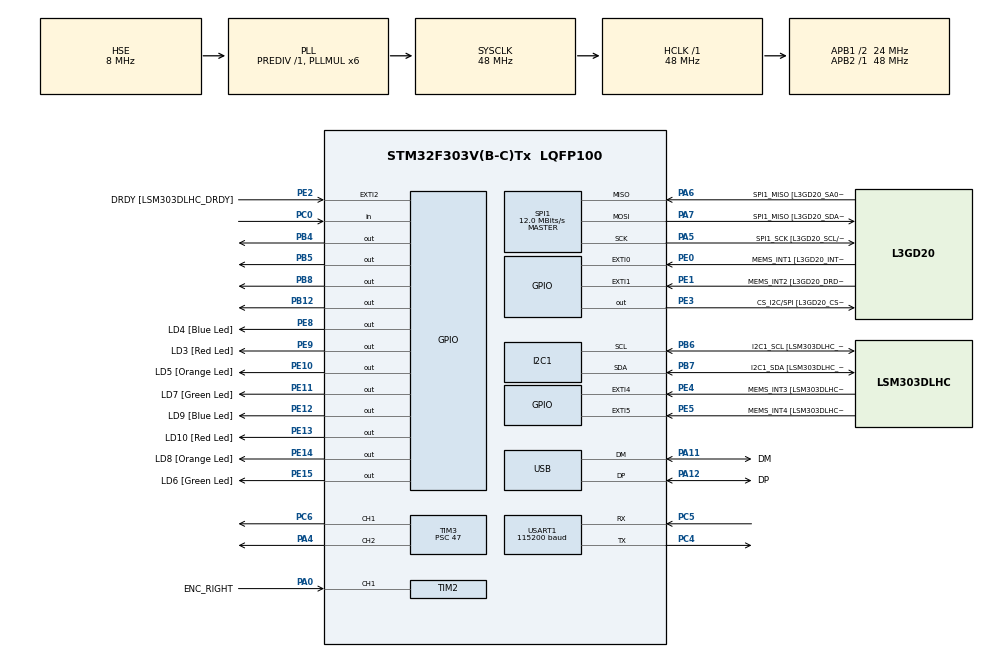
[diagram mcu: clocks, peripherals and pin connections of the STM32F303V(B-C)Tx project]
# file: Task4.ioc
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I2C1.Timing=0x00201D2B
I2C1.Timing-I2C=0x2000090E
Mcu.Family=STM32F3
Mcu.Name=STM32F303V(B-C)Tx
Mcu.Package=LQFP100
NVIC.PriorityGroup=NVIC_PRIORITYGROUP_0
NVIC.TIM2_IRQn=true\:0\:0\:false\:false\:true\:true\:true\:true
NVIC.USART1_IRQn=true\:0\:0\:false\:false\:true\:true\:true\:true
PA0.GPIO_Label=ENC_RIGHT
PA0.Signal=S_TIM2_CH1_ETR
PA11.GPIO_Label=DM
PA11.Mode=Device
PA11.Signal=USB_DM
PA12.GPIO_Label=DP
PA12.Mode=Device
PA12.Signal=USB_DP
PA13.GPIO_Label=SWDIO
PA13.Mode=Serial_Wire
PA13.Signal=SYS_JTMS-SWDIO
PA14.GPIO_Label=SWCLK
PA14.Mode=Serial_Wire
PA14.Signal=SYS_JTCK-SWCLK
PA4.Signal=S_TIM3_CH2
PA5.GPIO_Label=SPI1_SCK [L3GD20_SCL/SPC]
PA5.Mode=Full_Duplex_Master
PA5.Signal=SPI1_SCK
PA6.GPIO_Label=SPI1_MISO [L3GD20_SA0/SDO]
PA6.Mode=Full_Duplex_Master
PA6.Signal=SPI1_MISO
PA7.GPIO_Label=SPI1_MISO [L3GD20_SDA/SDI/SDO]
PA7.Mode=Full_Duplex_Master
PA7.Signal=SPI1_MOSI
PB12.Signal=GPIO_Output
PB3.GPIO_Label=SWO
PB3.Signal=SYS_JTDO-TRACESWO
PB4.Signal=GPIO_Output
PB5.Signal=GPIO_Output
PB6.GPIO_Label=I2C1_SCL [LSM303DLHC_SCL]
PB6.GPIO_Pu=GPIO_PULLUP
PB6.Mode=I2C
PB6.Signal=I2C1_SCL
PB7.GPIO_Label=I2C1_SDA [LSM303DLHC_SDA]
PB7.GPIO_Pu=GPIO_PULLUP
PB7.Mode=I2C
PB7.Signal=I2C1_SDA
PB8.Signal=GPIO_Output
PC0.GPIO_PuPd=GPIO_PULLUP
PC0.Signal=GPIO_Input
PC14-OSC32_IN.GPIO_Label=OSC32_IN
PC14-OSC32_IN.Signal=RCC_OSC32_IN
PC15-OSC32_OUT.GPIO_Label=OSC32_OUT
PC15-OSC32_OUT.Signal=RCC_OSC32_OUT
PC4.Mode=Asynchronous
PC4.Signal=USART1_TX
PC5.Mode=Asynchronous
PC5.Signal=USART1_RX
PC6.Signal=S_TIM3_CH1
PE0.GPIO_Label=MEMS_INT1 [L3GD20_INT1]
PE0.GPIO_ModeDefaultEXTI=GPIO_MODE_EVT_RISING
PE0.Signal=GPXTI0
PE1.GPIO_Label=MEMS_INT2 [L3GD20_DRDY/INT2]
PE1.GPIO_ModeDefaultEXTI=GPIO_MODE_EVT_RISING
PE1.Signal=GPXTI1
PE10.GPIO_Label=LD5 [Orange Led]
PE10.Signal=GPIO_Output
PE11.GPIO_Label=LD7 [Green Led]
PE11.Signal=GPIO_Output
PE12.GPIO_Label=LD9 [Blue Led]
PE12.Signal=GPIO_Output
PE13.GPIO_Label=LD10 [Red Led]
PE13.Signal=GPIO_Output
PE14.GPIO_Label=LD8 [Orange Led]
PE14.Signal=GPIO_Output
PE15.GPIO_Label=LD6 [Green Led]
PE15.Signal=GPIO_Output
PE2.GPIO_Label=DRDY [LSM303DLHC_DRDY]
PE2.GPIO_ModeDefaultEXTI=GPIO_MODE_EVT_RISING
PE2.Signal=GPXTI2
PE3.GPIO_Label=CS_I2C/SPI [L3GD20_CS_I2C/SPI]
PE3.Signal=GPIO_Output
PE4.GPIO_Label=MEMS_INT3 [LSM303DLHC_INT1]
PE4.GPIO_ModeDefaultEXTI=GPIO_MODE_EVT_RISING
PE4.Signal=GPXTI4
PE5.GPIO_Label=MEMS_INT4 [LSM303DLHC_INT2]
PE5.GPIO_ModeDefaultEXTI=GPIO_MODE_EVT_RISING
PE5.Signal=GPXTI5
PE8.GPIO_Label=LD4 [Blue Led]
PE8.Signal=GPIO_Output
PE9.GPIO_Label=LD3 [Red Led]
PE9.Signal=GPIO_Output
PF0-OSC_IN.GPIO_Label=OSC_IN
PF0-OSC_IN.Mode=HSE-External-Clock-Source
PF0-OSC_IN.Signal=RCC_OSC_IN
PF1-OSC_OUT.GPIO_Label=OSC_OUT
PF1-OSC_OUT.Signal=RCC_OSC_OUT
ProjectManager.HeapSize=0x200
ProjectManager.StackSize=0x400
ProjectManager.TargetToolchain=CMake
RCC.AHBFreq_Value=48000000
RCC.APB1CLKDivider=RCC_HCLK_DIV2
RCC.APB1Freq_Value=24000000
RCC.APB1TimFreq_Value=48000000
RCC.APB2Freq_Value=48000000
RCC.APB2TimFreq_Value=48000000
RCC.CortexFreq_Value=48000000
RCC.HCLKFreq_Value=48000000
RCC.HSE_VALUE=8000000
RCC.HSI_VALUE=8000000
RCC.LSE_VALUE=32768
RCC.PLLMUL=RCC_PLL_MUL6
RCC.SYSCLKFreq_VALUE=48000000
RCC.SYSCLKSourceVirtual=RCC_SYSCLKSOURCE_PLLCLK
RCC.USBFreq_Value=48000000
SH.S_TIM2_CH1_ETR.0=TIM2_CH1,Input_Capture1_from_TI1
SH.S_TIM3_CH1.0=TIM3_CH1,PWM Generation1 CH1
SH.S_TIM3_CH2.0=TIM3_CH2,PWM Generation2 CH2
SPI1.BaudRatePrescaler=SPI_BAUDRATEPRESCALER_4
SPI1.BaudRatePrescaler-Full_Duplex_Master=SPI_BAUDRATEPRESCALER_2
SPI1.CalculateBaudRate=12.0 MBits/s
SPI1.CalculateBaudRate-Full_Duplex_Master=24.0 MBits/s
SPI1.Direction=SPI_DIRECTION_2LINES
SPI1.Mode=SPI_MODE_MASTER
SPI1.Mode-Full_Duplex_Master=SPI_MODE_MASTER
SPI1.VirtualType=VM_MASTER
TIM2.Channel-Input_Capture1_from_TI1=TIM_CHANNEL_1
TIM2.Prescaler=47
TIM3.Channel-PWM\ Generation1\ CH1=TIM_CHANNEL_1
TIM3.Channel-PWM\ Generation2\ CH2=TIM_CHANNEL_2
TIM3.Period=999
TIM3.Prescaler=47
USART1.BaudRate=115200
USART1.VirtualMode-Asynchronous=VM_ASYNC
VP_TIM2_VS_ClockSourceINT.Mode=Internal
VP_TIM3_VS_ClockSourceINT.Mode=Internal
board=STM32F3DISCOVERY

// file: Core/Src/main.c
/* USER CODE BEGIN Header */
/**
  ******************************************************************************
  * @file           : main.c
  * @brief          : Main program body
  ******************************************************************************
  * @attention
  *
  * Copyright (c) 2026 STMicroelectronics.
  * All rights reserved.
  *
  * This software is licensed under terms that can be found in the LICENSE file
  * in the root directory of this software component.
  * If no LICENSE file comes with this software, it is provided AS-IS.
  *
  ******************************************************************************
  */
/* USER CODE END Header */
#include "main.h"

/* USER CODE BEGIN Includes */
#include "stm32f303xc.h"
#include "stm32f3xx_hal.h"
#include <stdio.h>
#include <string.h>
/* USER CODE END Includes */

/* USER CODE BEGIN PD */
#define PPR 330.0f
/* USER CODE END PD */

I2C_HandleTypeDef hi2c1;

SPI_HandleTypeDef hspi1;

TIM_HandleTypeDef htim2;
TIM_HandleTypeDef htim3;

UART_HandleTypeDef huart1;

PCD_HandleTypeDef hpcd_USB_FS;

/* USER CODE BEGIN PV */
volatile uint32_t x1 = 0;
volatile uint32_t x2 = 0;
volatile uint32_t diff = 0;
volatile uint8_t firstEdge = 0;

volatile float freqInHz = 0.0f;
volatile float motorRPM = 0.0f;

char uartBuffer[64];
/* USER CODE END PV */

void SystemClock_Config(void);
static void MX_GPIO_Init(void);
static void MX_I2C1_Init(void);
static void MX_SPI1_Init(void);
static void MX_TIM2_Init(void);
static void MX_USART1_UART_Init(void);
static void MX_USB_PCD_Init(void);
static void MX_TIM3_Init(void);

int main(void)
{

  /* MCU Configuration--------------------------------------------------------*/

  /* Reset of all peripherals, Initializes the Flash interface and the Systick. */
  HAL_Init();

  /* Configure the system clock */
  SystemClock_Config();

  /* Initialize all configured peripherals */
  MX_GPIO_Init();
  MX_I2C1_Init();
  MX_SPI1_Init();
  MX_TIM2_Init();
  MX_USART1_UART_Init();
  MX_USB_PCD_Init();
  MX_TIM3_Init();
  /* USER CODE BEGIN 2 */

  /* ── Lab 5: Motor PWM at 50% duty cycle ── */
  HAL_TIM_PWM_Start(&htim3, TIM_CHANNEL_1);
  HAL_TIM_PWM_Start(&htim3, TIM_CHANNEL_2);
  __HAL_TIM_SET_COMPARE(&htim3, TIM_CHANNEL_1, 500);
  __HAL_TIM_SET_COMPARE(&htim3, TIM_CHANNEL_2, 500);

  /* ── Lab 5: Motor direction (Using your Task 3 pins) ── */
  HAL_GPIO_WritePin(GPIOB, GPIO_PIN_12, GPIO_PIN_SET);
  HAL_GPIO_WritePin(GPIOB, GPIO_PIN_8,  GPIO_PIN_RESET);
  HAL_GPIO_WritePin(GPIOB, GPIO_PIN_5,  GPIO_PIN_SET);
  HAL_GPIO_WritePin(GPIOB, GPIO_PIN_4,  GPIO_PIN_RESET);

  /* Start TIM2 in Input Capture Interrupt Mode */
  HAL_TIM_IC_Start_IT(&htim2, TIM_CHANNEL_1);

  /* USER CODE END 2 */

  /* Infinite loop */
  while (1)
  {

    /* USER CODE BEGIN 3 */
    snprintf(
      uartBuffer,
      sizeof(uartBuffer),
      "Freq: %.2f Hz | RPM: %.2f\r\n",
      freqInHz, motorRPM
    );

    HAL_UART_Transmit(&huart1, (uint8_t *)uartBuffer, strlen(uartBuffer), HAL_MAX_DELAY);

    HAL_Delay(100);
  }
  /* USER CODE END 3 */
}

void SystemClock_Config(void)
{
  RCC_OscInitTypeDef RCC_OscInitStruct = {0};
  RCC_ClkInitTypeDef RCC_ClkInitStruct = {0};
  RCC_PeriphCLKInitTypeDef PeriphClkInit = {0};

  /** Initializes the RCC Oscillators according to the specified parameters
  * in the RCC_OscInitTypeDef structure.
  */
  RCC_OscInitStruct.OscillatorType = RCC_OSCILLATORTYPE_HSI|RCC_OSCILLATORTYPE_HSE;
  RCC_OscInitStruct.HSEState = RCC_HSE_BYPASS;
  RCC_OscInitStruct.HSEPredivValue = RCC_HSE_PREDIV_DIV1;
  RCC_OscInitStruct.HSIState = RCC_HSI_ON;
  RCC_OscInitStruct.HSICalibrationValue = RCC_HSICALIBRATION_DEFAULT;
  RCC_OscInitStruct.PLL.PLLState = RCC_PLL_ON;
  RCC_OscInitStruct.PLL.PLLSource = RCC_PLLSOURCE_HSE;
  RCC_OscInitStruct.PLL.PLLMUL = RCC_PLL_MUL6;
  if (HAL_RCC_OscConfig(&RCC_OscInitStruct) != HAL_OK)
  {
    Error_Handler();
  }

  /** Initializes the CPU, AHB and APB buses clocks
  */
  RCC_ClkInitStruct.ClockType = RCC_CLOCKTYPE_HCLK|RCC_CLOCKTYPE_SYSCLK
                              |RCC_CLOCKTYPE_PCLK1|RCC_CLOCKTYPE_PCLK2;
  RCC_ClkInitStruct.SYSCLKSource = RCC_SYSCLKSOURCE_PLLCLK;
  RCC_ClkInitStruct.AHBCLKDivider = RCC_SYSCLK_DIV1;
  RCC_ClkInitStruct.APB1CLKDivider = RCC_HCLK_DIV2;
  RCC_ClkInitStruct.APB2CLKDivider = RCC_HCLK_DIV1;

  if (HAL_RCC_ClockConfig(&RCC_ClkInitStruct, FLASH_LATENCY_1) != HAL_OK)
  {
    Error_Handler();
  }
  PeriphClkInit.PeriphClockSelection = RCC_PERIPHCLK_USB|RCC_PERIPHCLK_USART1
                              |RCC_PERIPHCLK_I2C1;
  PeriphClkInit.Usart1ClockSelection = RCC_USART1CLKSOURCE_PCLK2;
  PeriphClkInit.I2c1ClockSelection = RCC_I2C1CLKSOURCE_HSI;
  PeriphClkInit.USBClockSelection = RCC_USBCLKSOURCE_PLL;
  if (HAL_RCCEx_PeriphCLKConfig(&PeriphClkInit) != HAL_OK)
  {
    Error_Handler();
  }
}

static void MX_I2C1_Init(void)
{

  hi2c1.Instance = I2C1;
  hi2c1.Init.Timing = 0x00201D2B;
  hi2c1.Init.OwnAddress1 = 0;
  hi2c1.Init.AddressingMode = I2C_ADDRESSINGMODE_7BIT;
  hi2c1.Init.DualAddressMode = I2C_DUALADDRESS_DISABLE;
  hi2c1.Init.OwnAddress2 = 0;
  hi2c1.Init.OwnAddress2Masks = I2C_OA2_NOMASK;
  hi2c1.Init.GeneralCallMode = I2C_GENERALCALL_DISABLE;
  hi2c1.Init.NoStretchMode = I2C_NOSTRETCH_DISABLE;
  if (HAL_I2C_Init(&hi2c1) != HAL_OK)
  {
    Error_Handler();
  }

  /** Configure Analogue filter
  */
  if (HAL_I2CEx_ConfigAnalogFilter(&hi2c1, I2C_ANALOGFILTER_ENABLE) != HAL_OK)
  {
    Error_Handler();
  }

  /** Configure Digital filter
  */
  if (HAL_I2CEx_ConfigDigitalFilter(&hi2c1, 0) != HAL_OK)
  {
    Error_Handler();
  }

}

static void MX_SPI1_Init(void)
{

  /* SPI1 parameter configuration*/
  hspi1.Instance = SPI1;
  hspi1.Init.Mode = SPI_MODE_MASTER;
  hspi1.Init.Direction = SPI_DIRECTION_2LINES;
  hspi1.Init.DataSize = SPI_DATASIZE_4BIT;
  hspi1.Init.CLKPolarity = SPI_POLARITY_LOW;
  hspi1.Init.CLKPhase = SPI_PHASE_1EDGE;
  hspi1.Init.NSS = SPI_NSS_SOFT;
  hspi1.Init.BaudRatePrescaler = SPI_BAUDRATEPRESCALER_4;
  hspi1.Init.FirstBit = SPI_FIRSTBIT_MSB;
  hspi1.Init.TIMode = SPI_TIMODE_DISABLE;
  hspi1.Init.CRCCalculation = SPI_CRCCALCULATION_DISABLE;
  hspi1.Init.CRCPolynomial = 7;
  hspi1.Init.CRCLength = SPI_CRC_LENGTH_DATASIZE;
  hspi1.Init.NSSPMode = SPI_NSS_PULSE_ENABLE;
  if (HAL_SPI_Init(&hspi1) != HAL_OK)
  {
    Error_Handler();
  }

}

static void MX_TIM2_Init(void)
{

  TIM_ClockConfigTypeDef sClockSourceConfig = {0};
  TIM_MasterConfigTypeDef sMasterConfig = {0};
  TIM_IC_InitTypeDef sConfigIC = {0};

  htim2.Instance = TIM2;
  htim2.Init.Prescaler = 47;
  htim2.Init.CounterMode = TIM_COUNTERMODE_UP;
  htim2.Init.Period = 4294967295;
  htim2.Init.ClockDivision = TIM_CLOCKDIVISION_DIV1;
  htim2.Init.AutoReloadPreload = TIM_AUTORELOAD_PRELOAD_DISABLE;
  if (HAL_TIM_Base_Init(&htim2) != HAL_OK)
  {
    Error_Handler();
  }
  sClockSourceConfig.ClockSource = TIM_CLOCKSOURCE_INTERNAL;
  if (HAL_TIM_ConfigClockSource(&htim2, &sClockSourceConfig) != HAL_OK)
  {
    Error_Handler();
  }
  if (HAL_TIM_IC_Init(&htim2) != HAL_OK)
  {
    Error_Handler();
  }
  sMasterConfig.MasterOutputTrigger = TIM_TRGO_RESET;
  sMasterConfig.MasterSlaveMode = TIM_MASTERSLAVEMODE_DISABLE;
  if (HAL_TIMEx_MasterConfigSynchronization(&htim2, &sMasterConfig) != HAL_OK)
  {
    Error_Handler();
  }
  sConfigIC.ICPolarity = TIM_INPUTCHANNELPOLARITY_RISING;
  sConfigIC.ICSelection = TIM_ICSELECTION_DIRECTTI;
  sConfigIC.ICPrescaler = TIM_ICPSC_DIV1;
  sConfigIC.ICFilter = 0;
  if (HAL_TIM_IC_ConfigChannel(&htim2, &sConfigIC, TIM_CHANNEL_1) != HAL_OK)
  {
    Error_Handler();
  }

}

static void MX_TIM3_Init(void)
{

  TIM_ClockConfigTypeDef sClockSourceConfig = {0};
  TIM_MasterConfigTypeDef sMasterConfig = {0};
  TIM_OC_InitTypeDef sConfigOC = {0};

  htim3.Instance = TIM3;
  htim3.Init.Prescaler = 47;
  htim3.Init.CounterMode = TIM_COUNTERMODE_UP;
  htim3.Init.Period = 999;
  htim3.Init.ClockDivision = TIM_CLOCKDIVISION_DIV1;
  htim3.Init.AutoReloadPreload = TIM_AUTORELOAD_PRELOAD_DISABLE;
  if (HAL_TIM_Base_Init(&htim3) != HAL_OK)
  {
    Error_Handler();
  }
  sClockSourceConfig.ClockSource = TIM_CLOCKSOURCE_INTERNAL;
  if (HAL_TIM_ConfigClockSource(&htim3, &sClockSourceConfig) != HAL_OK)
  {
    Error_Handler();
  }
  if (HAL_TIM_PWM_Init(&htim3) != HAL_OK)
  {
    Error_Handler();
  }
  sMasterConfig.MasterOutputTrigger = TIM_TRGO_RESET;
  sMasterConfig.MasterSlaveMode = TIM_MASTERSLAVEMODE_DISABLE;
  if (HAL_TIMEx_MasterConfigSynchronization(&htim3, &sMasterConfig) != HAL_OK)
  {
    Error_Handler();
  }
  sConfigOC.OCMode = TIM_OCMODE_PWM1;
  sConfigOC.Pulse = 0;
  sConfigOC.OCPolarity = TIM_OCPOLARITY_HIGH;
  sConfigOC.OCFastMode = TIM_OCFAST_DISABLE;
  if (HAL_TIM_PWM_ConfigChannel(&htim3, &sConfigOC, TIM_CHANNEL_1) != HAL_OK)
  {
    Error_Handler();
  }
  if (HAL_TIM_PWM_ConfigChannel(&htim3, &sConfigOC, TIM_CHANNEL_2) != HAL_OK)
  {
    Error_Handler();
  }
  HAL_TIM_MspPostInit(&htim3);

}

static void MX_USART1_UART_Init(void)
{

  huart1.Instance = USART1;
  huart1.Init.BaudRate = 115200;
  huart1.Init.WordLength = UART_WORDLENGTH_8B;
  huart1.Init.StopBits = UART_STOPBITS_1;
  huart1.Init.Parity = UART_PARITY_NONE;
  huart1.Init.Mode = UART_MODE_TX_RX;
  huart1.Init.HwFlowCtl = UART_HWCONTROL_NONE;
  huart1.Init.OverSampling = UART_OVERSAMPLING_16;
  huart1.Init.OneBitSampling = UART_ONE_BIT_SAMPLE_DISABLE;
  huart1.AdvancedInit.AdvFeatureInit = UART_ADVFEATURE_NO_INIT;
  if (HAL_UART_Init(&huart1) != HAL_OK)
  {
    Error_Handler();
  }

}

static void MX_USB_PCD_Init(void)
{

  hpcd_USB_FS.Instance = USB;
  hpcd_USB_FS.Init.dev_endpoints = 8;
  hpcd_USB_FS.Init.speed = PCD_SPEED_FULL;
  hpcd_USB_FS.Init.phy_itface = PCD_PHY_EMBEDDED;
  hpcd_USB_FS.Init.low_power_enable = DISABLE;
  hpcd_USB_FS.Init.battery_charging_enable = DISABLE;
  if (HAL_PCD_Init(&hpcd_USB_FS) != HAL_OK)
  {
    Error_Handler();
  }

}

static void MX_GPIO_Init(void)
{
  GPIO_InitTypeDef GPIO_InitStruct = {0};

  /* GPIO Ports Clock Enable */
  __HAL_RCC_GPIOE_CLK_ENABLE();
  __HAL_RCC_GPIOC_CLK_ENABLE();
  __HAL_RCC_GPIOF_CLK_ENABLE();
  __HAL_RCC_GPIOA_CLK_ENABLE();
  __HAL_RCC_GPIOB_CLK_ENABLE();

  /*Configure GPIO pin Output Level */
  HAL_GPIO_WritePin(GPIOE, CS_I2C_SPI_Pin|LD4_Pin|LD3_Pin|LD5_Pin
                          |LD7_Pin|LD9_Pin|LD10_Pin|LD8_Pin
                          |LD6_Pin, GPIO_PIN_RESET);

  /*Configure GPIO pin Output Level */
  HAL_GPIO_WritePin(GPIOB, GPIO_PIN_12|GPIO_PIN_4|GPIO_PIN_5|GPIO_PIN_8, GPIO_PIN_RESET);

  /*Configure GPIO pins : DRDY_Pin MEMS_INT3_Pin MEMS_INT4_Pin MEMS_INT1_Pin
                           MEMS_INT2_Pin */
  GPIO_InitStruct.Pin = DRDY_Pin|MEMS_INT3_Pin|MEMS_INT4_Pin|MEMS_INT1_Pin
                          |MEMS_INT2_Pin;
  GPIO_InitStruct.Mode = GPIO_MODE_EVT_RISING;
  GPIO_InitStruct.Pull = GPIO_NOPULL;
  HAL_GPIO_Init(GPIOE, &GPIO_InitStruct);

  /*Configure GPIO pins : CS_I2C_SPI_Pin LD4_Pin LD3_Pin LD5_Pin
                           LD7_Pin LD9_Pin LD10_Pin LD8_Pin
                           LD6_Pin */
  GPIO_InitStruct.Pin = CS_I2C_SPI_Pin|LD4_Pin|LD3_Pin|LD5_Pin
                          |LD7_Pin|LD9_Pin|LD10_Pin|LD8_Pin
                          |LD6_Pin;
  GPIO_InitStruct.Mode = GPIO_MODE_OUTPUT_PP;
  GPIO_InitStruct.Pull = GPIO_NOPULL;
  GPIO_InitStruct.Speed = GPIO_SPEED_FREQ_LOW;
  HAL_GPIO_Init(GPIOE, &GPIO_InitStruct);

  /*Configure GPIO pin : PC0 */
  GPIO_InitStruct.Pin = GPIO_PIN_0;
  GPIO_InitStruct.Mode = GPIO_MODE_INPUT;
  GPIO_InitStruct.Pull = GPIO_PULLUP;
  HAL_GPIO_Init(GPIOC, &GPIO_InitStruct);

  /*Configure GPIO pins : PB12 PB4 PB5 PB8 */
  GPIO_InitStruct.Pin = GPIO_PIN_12|GPIO_PIN_4|GPIO_PIN_5|GPIO_PIN_8;
  GPIO_InitStruct.Mode = GPIO_MODE_OUTPUT_PP;
  GPIO_InitStruct.Pull = GPIO_NOPULL;
  GPIO_InitStruct.Speed = GPIO_SPEED_FREQ_LOW;
  HAL_GPIO_Init(GPIOB, &GPIO_InitStruct);

}

/* USER CODE BEGIN 4 */

void HAL_TIM_IC_CaptureCallback(TIM_HandleTypeDef *htim)
{
  // Ensure we are responding to the correct Timer and Channel
  if (htim->Instance == TIM2 && htim->Channel == HAL_TIM_ACTIVE_CHANNEL_1)
{
    static uint32_t last_capture = 0;
    uint32_t current_capture = HAL_TIM_ReadCapturedValue(htim, TIM_CHANNEL_1);
    uint32_t diff = 0;

    // Calculate time between this edge and the last one
    if (current_capture > last_capture) {
        diff = current_capture - last_capture;
    } else {
        // Standard overflow handling for 32-bit timer
        diff = (0xFFFFFFFF - last_capture) + current_capture;
    }

    if (diff > 0) {
        // 48MHz clock with Prescaler 47 = 1 tick per 1 microsecond
        freqInHz = 1000000.0f / (float)diff;
        motorRPM = (60.0f * freqInHz) / PPR;
    }

    last_capture = current_capture;
  }
}

/* USER CODE END 4 */

void Error_Handler(void)
{
  __disable_irq();
  while (1)
  {
  }
}
